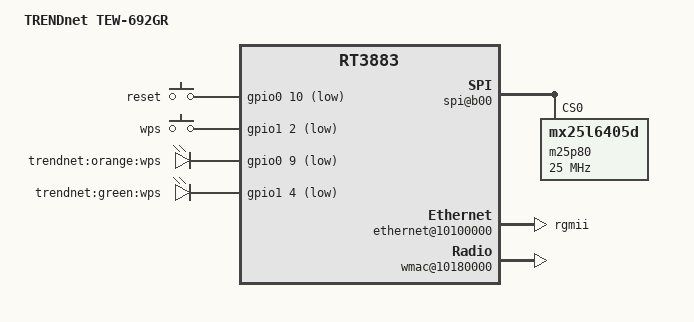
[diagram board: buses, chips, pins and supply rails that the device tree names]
/dts-v1/;

/include/ "rt3883.dtsi"

/ {
	#address-cells = <1>;
	#size-cells = <1>;
	compatible = "TEW-692GR", "ralink,rt3883-soc";
	model = "TRENDnet TEW-692GR";

	memorydetect {
		ralink,memory = <0x0 0x200000 0x10000000>;
	};

	palmbus@10000000 {
		sysc@0 {
			ralink,pinmmux = "uartlite", "spi";
			ralink,gpiomux = "i2c", "jtag";
			ralink,uartmux = "gpio";
			ralink,wdtmux = <1>;
		};

		timer@100 {
			status = "okay";
		};

		gpio0: gpio@600 {
			status = "okay";
		};

		gpio1: gpio@638 {
			status = "okay";
		};

		spi@b00 {
			status = "okay";

			m25p80@0 {
				#address-cells = <1>;
				#size-cells = <1>;
				compatible = "mx25l6405d";
				reg = <0 0>;
				linux,modalias = "m25p80";
				spi-max-frequency = <25000000>;
			};
		};
	};

	ethernet@10100000 {
		status = "okay";
		ralink,phy-mask = <0x1>;
		phy-mode = "rgmii";
	};

	wmac@10180000 {
		status = "okay";
		ralink,5ghz = <0>;
	};

	gpio-keys-polled {
		compatible = "gpio-keys-polled";
		#address-cells = <1>;
		#size-cells = <0>;
		poll-interval = <100>;
		reset {
			label = "reset";
			gpios = <&gpio0 10 1>;
			linux,code = <0x198>;
		};
		wps {
			label = "wps";
			gpios = <&gpio1 2 1>;
			linux,code = <0x211>;
		};
	};

	gpio-leds {
		compatible = "gpio-leds";
		wps {
			label = "trendnet:orange:wps";
			gpios = <&gpio0 9 1>;
		};
		wps2 {
			label = "trendnet:green:wps";
			gpios = <&gpio1 4 1>;
		};
	};
};
